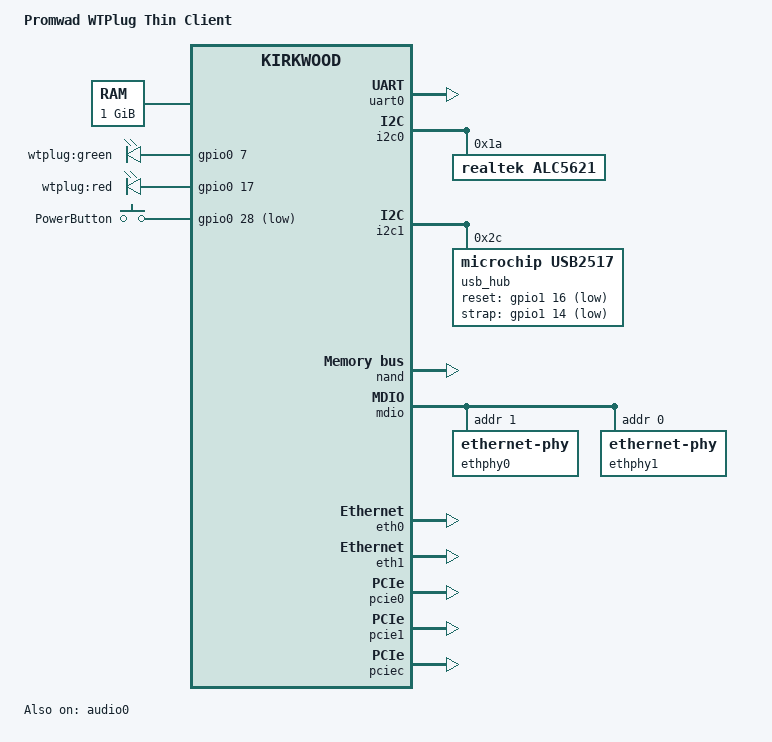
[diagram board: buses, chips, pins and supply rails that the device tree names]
// SPDX-License-Identifier: GPL-2.0
/*
 * Device Tree file for Promwad WTPlug Thin Client Board
 * Copyright (C) 2024-2025 bodhi <mibodhi@gmail.com>
 * and cmp18 have added some functions
 */

/dts-v1/;
#include "kirkwood.dtsi"
#include "kirkwood-6282.dtsi"
#include <dt-bindings/gpio/gpio.h>
#include <dt-bindings/input/input.h>
#include <dt-bindings/leds/common.h>

/ {
	model = "Promwad WTPlug Thin Client";
	compatible = "promwad,wtplug-tc", "marvell,kirkwood-88f6282", "marvell,kirkwood";

	memory@0 {
		device_type = "memory";
		reg = <0x00000000 0x40000000>; /* 1 GB */
	};

	chosen {
		bootargs = "console=ttyS0,115200 vmalloc=64M ignore_loglevel";
		stdout-path = &uart0;
	};

	leds {
		compatible = "gpio-leds";
		pinctrl-names = "default";
		pinctrl-0 = <&pmx_led_green &pmx_led_red>;

		led-green {
			label = "wtplug:green";
			gpios = <&gpio0 7 GPIO_ACTIVE_HIGH>;
			default-state = "off";
		};

		led-red {
			label = "wtplug:red";
			gpios = <&gpio0 17 GPIO_ACTIVE_HIGH>;
			default-state = "off";
		};
	};

	keys {
		compatible = "gpio-keys";
		pinctrl-names = "default";
		pinctrl-0 = <&pmx_power_button>;

		power {
			label = "PowerButton";
			linux,code = <KEY_POWER>;
			gpios = <&gpio0 28 GPIO_ACTIVE_LOW>;
			/* debounce-interval = <20>; */
		};
	};

	sound {
		compatible = "simple-audio-card";
		simple-audio-card,format = "i2s";

		simple-audio-card,bitclock-master = <&sound_cpu>;
		simple-audio-card,frame-master = <&sound_cpu>;

		/* The codec MCLK is MPP42, driven by the SoC DCO at 256 fs */
		simple-audio-card,mclk-fs = <256>;

		simple-audio-card,widgets =
			"Headphone", "Headphone Jack",
			"Microphone", "Mic Jack";

		simple-audio-card,routing =
			"Headphone Jack", "HPL",
			"Headphone Jack", "HPR",
			"MIC1", "Mic Jack",
			"MIC2", "Mic Jack";

		sound_cpu: simple-audio-card,cpu {
			sound-dai = <&audio0>;
		};

		simple-audio-card,codec {
			sound-dai = <&alc5621>;
		};
	};
};

&uart0 {
	status = "okay";
};

&pinctrl {
	pinctrl-names = "default";
	pinctrl-0 = <&pmx_pcie_rst &pmx_gpu_rst &pmx_usb_strap &pmx_usb_rst>;

	/* MPP7 is output-only, its GPIO function is "gpo" */
	pmx_led_green: pmx-led-green {
		marvell,pins = "mpp7";
		marvell,function = "gpo";
	};

	pmx_led_red: pmx-led-red {
		marvell,pins = "mpp17";
		marvell,function = "gpio";
	};

	pmx_power_button: pmx-power-button {
		marvell,pins = "mpp28";
		marvell,function = "gpio";
	};

	pmx_pcie_rst: pmx-pcie-rst {
		marvell,pins = "mpp13";
		marvell,function = "gpio";
	};

	pmx_gpu_rst: pmx-gpu-rst {
		marvell,pins = "mpp38";
		marvell,function = "gpio";
	};

	pmx_i2s: pmx-i2s {
		marvell,pins = "mpp39", "mpp40", "mpp41", "mpp42", "mpp43";
		marvell,function = "audio";
	};

	pmx_usb_strap: pmx-usb-strap {
		marvell,pins = "mpp46";
		marvell,function = "gpio";
	};

	pmx_usb_rst: pmx-usb-rst {
		marvell,pins = "mpp48";
		marvell,function = "gpio";
	};
};

&audio0 {
	pinctrl-names = "default";
	pinctrl-0 = <&pmx_i2s>;
	status = "okay";
};

&i2c0 {
	status = "okay";

	alc5621: alc5621@1a {
		compatible = "realtek,alc5621", "realtek,alc5623";
		reg = <0x1a>;
		#sound-dai-cells = <0>;

		add-ctrl = <0x3700>;
		jack-det-ctrl = <0x4980>;
	};
};

&i2c1 {
	status = "okay";

	usb_hub: usb-hub@2c {
		compatible = "microchip,usb2517";
		reg = <0x2c>;
		reset-gpios = <&gpio1 16 GPIO_ACTIVE_LOW>;
		/* CFG_SEL1 on HS_IND: low at reset release selects SMBus config */
		strap-gpios = <&gpio1 14 GPIO_ACTIVE_LOW>;

		self-powered;
		individual-port-switching;
		individual-sensing;

		vendor-id = /bits/ 16 <0x0424>;
		product-id = /bits/ 16 <0x2517>;
		device-id = /bits/ 16 <0x0bb3>;
	};
};

&nand {
	chip-delay = <25>;
	status = "okay";

	partitions {
		compatible = "fixed-partitions";
		#address-cells = <1>;
		#size-cells = <1>;

		partition@0 {
			label = "u-boot";
			reg = <0x0 0xe0000>;
			read-only;
		};

		partition@e0000 {
			label = "u-boot-env";
			reg = <0xe0000 0x20000>;
		};

		partition@100000 {
			label = "ubi";
			reg = <0x100000 0x3ff00000>;
		};
	};
};

&mdio {
	status = "okay";
	ethphy0: ethernet-phy@1 { reg = <1>; };
	ethphy1: ethernet-phy@0 { reg = <0>; };
};

&eth0 {
	status = "okay";
	ethernet0-port@0 { phy-handle = <&ethphy0>; };
};

&eth1 {
	status = "okay";
	ethernet1-port@0 { phy-handle = <&ethphy1>; };
};

/*
 * No reset-gpios: U-Boot has set up the GPU for xgi-fb, and a reset here
 * would lose the mode. PERST of pcie0 is GPIO13, GPU_RESET is GPIO38.
 */
&pcie0 {
	status = "okay";
};

&pcie1 {
	status = "okay";
};

&pciec {
	status = "okay";
};
